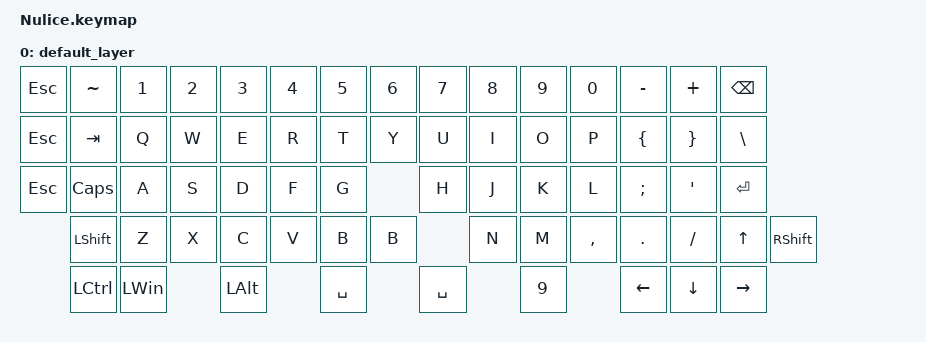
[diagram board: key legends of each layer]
#include <behaviors.dtsi>
#include <dt-bindings/zmk/keys.h>

/ {
    keymap {
        compatible = "zmk,keymap";

        default_layer { // Layer 0
                 // | ESC  |  ~   |  1   |  2   |  3   |  4   |  5   |  6   |                              |      |  7   |  8   |  9   |  0   |  -   |  +   | BSPC |
                 // | ESC  | TAB  |  Q   |  W   |  E   |  R   |  T   |      |                              |  Y   |  U   |  I   |  O   |  P   |  {   |  }   |   \  |
                 // | ESC  | CAP  |  A   |  S   |  D   |  F   |  G   |      |                              |      |  H   |  J   |  K   |  L   |  ;   |  "   | RET  |
                 //        | SHFT |  Z   |  X   |  C   |  V   |  B   |      |                              |  B   |  N   |  M   |  ,   |  .   |  ?   |  ↑   | SHFT |
                 //        | CTRL | GUI  |      | LALT |      | SPACE|      |                              | SPACE|      |      | SW1  |      |  ←   |  ↓   |  →   |
            bindings = <
                &kp ESC    &kp TILDE    &kp N1    &kp N2    &kp N3    &kp N4    &kp N5    &kp N6              &kp N7    &kp N8    &kp N9    &kp N0    &kp MINUS    &kp PLUS    &kp BSPC
                &kp ESC    &kp TAB      &kp Q     &kp W     &kp E     &kp R     &kp T                &kp Y    &kp U     &kp I     &kp O     &kp P     &kp LBRC     &kp RBRC    &kp BSLH
                &kp ESC    &kp CAPS     &kp A     &kp S     &kp D     &kp F     &kp G                         &kp H     &kp J     &kp K     &kp L     &kp SEMI     &kp SQT     &kp RET
                           &kp LSHFT    &kp Z     &kp X     &kp C     &kp V     &kp B                &kp B    &kp N     &kp M     &kp COMMA &kp DOT   &kp FSLH     &kp UP      &kp RSHFT
                           &kp LCTRL    &kp LWIN            &kp LALT            &kp SPACE            &kp SPACE                    &kp N9              &kp LEFT     &kp DOWN    &kp RIGHT
            >;
        };
    };
 };

